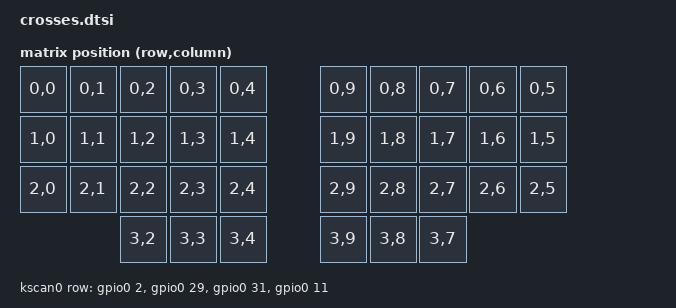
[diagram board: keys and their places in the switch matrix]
#include <dt-bindings/zmk/matrix_transform.h>
#include <dt-bindings/led/led.h>

/ {
    chosen {
        zmk,kscan = &kscan0;
        zmk,matrix_transform = &default_transform;
        zmk,point_device = <&pmw3610>; // この行を追加
    };

    default_transform: keymap_transform_0 {
        compatible = "zmk,matrix-transform";
        columns = <12>;
        rows = <4>;

        map = <
            RC(0,0) RC(0,1) RC(0,2) RC(0,3) RC(0,4)               RC(0,9) RC(0,8) RC(0,7) RC(0,6) RC(0,5) 
            RC(1,0) RC(1,1) RC(1,2) RC(1,3) RC(1,4)               RC(1,9) RC(1,8) RC(1,7) RC(1,6) RC(1,5)
            RC(2,0) RC(2,1) RC(2,2) RC(2,3) RC(2,4)               RC(2,9) RC(2,8) RC(2,7) RC(2,6) RC(2,5)
                            RC(3,2) RC(3,3) RC(3,4)               RC(3,9) RC(3,8) RC(3,7)           
        >;
    };
    
    kscan0: kscan {
        compatible = "zmk,kscan-gpio-matrix";
        label = "KSCAN";

        diode-direction = "row2col";
        row-gpios
            = <&gpio0 2 GPIO_ACTIVE_HIGH>
            , <&gpio0 29 GPIO_ACTIVE_HIGH>
            , <&gpio0 31 GPIO_ACTIVE_HIGH>
            , <&gpio0 11 GPIO_ACTIVE_HIGH>
            ;
    };

    // ★★★★ ここから下を追加 ★★★★
    
    // SPI設定
    &spi0 {
        compatible = "nordic,nrf-spim";
        status = "okay";
        
        // これらのピン番号は実際の配線に合わせて調整してください
        sck-pin = <9>;   // SCKピン
        mosi-pin = <10>; // MOSIピン
        miso-pin = <8>;  // MISOピン
        cs-gpios = <&gpio0 7 GPIO_ACTIVE_LOW>; // CSピン
        
        pmw3610: pmw3610@0 {
            compatible = "pixart,pmw3610";
            reg = <0>; // SPIデバイスのスレーブセレクト番号
            spi-max-frequency = <2000000>; // 2MHz
            status = "okay";
            
            // トラックボールの解像度設定（DPI）
            dpi = <1000>; // 800, 1000, 1200, 1600, 2000, 2400, 3200から選択
            
            // 必要な場合はデバウンス時間を設定
            // debounce-time = <1>; // ミリ秒単位
        };
    };
    
    // トラックボールの動き方向を設定（必要に応じて）
    pmw3610_0: pmw3610_0 {
        compatible = "zmk,pmw3610";
        status = "okay";
        
        // 回転方向の調整（必要に応じて反転設定）
        // invert-x = <0>; // 0:通常, 1:X軸反転
        // invert-y = <0>; // 0:通常, 1:Y軸反転
    };
};
